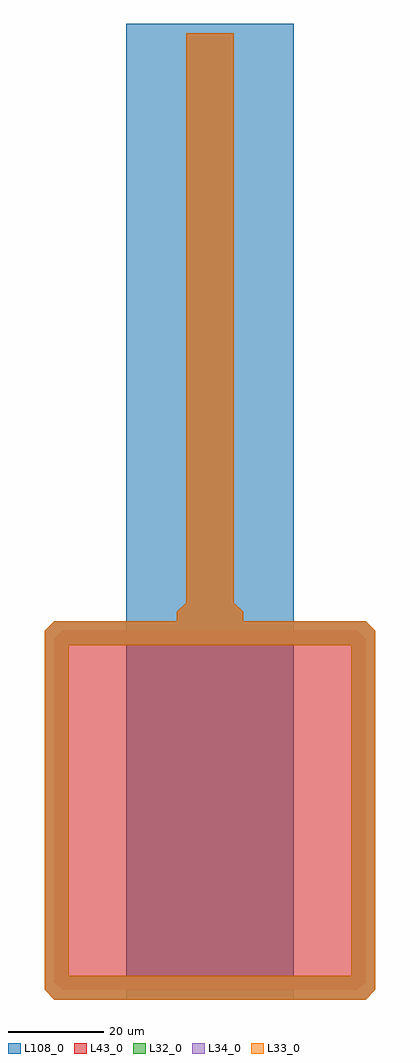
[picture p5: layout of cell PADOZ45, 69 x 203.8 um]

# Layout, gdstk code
import gdstk
lib = gdstk.Library(unit=1e-6, precision=1e-09)
def R(c, l, rs):  # rectangles x0, y0, x1, y1
    for r in rs: c.add(gdstk.rectangle(r[:2], r[2:], *l))
def P(c, l, *ps):  # polygons
    for p in ps: c.add(gdstk.Polygon(p, *l))
L32_0 = (32, 0)
L33_0 = (33, 0)
L34_0 = (34, 0)
L43_0 = (43, 0)
L108_0 = (108, 0)

padoz45 = lib.new_cell('PADOZ45')
P(padoz45, L32_0, [(69,77),(67,79),(2,79),(0,77),(0,74),(69,74)],
  [(69,77),(64,77),(64,0),(67,0),(69,2)],
  [(5,77),(0,77),(0,2),(2,0),(5,0)],
  [(66.93,5),(0,5),(0,2),(2,0),(66.93,0)],
  [(41.4,80.98),(39.5,82.88),(39.5,201.8),(29.5,201.8),(29.5,82.88),(27.6,80.98),(27.6,78.5),(41.4,78.5)])
P(padoz45, L33_0, [(69,77),(67,79),(2,79),(0,77),(0,74),(69,74)],
  [(69,77),(64,77),(64,0),(67,0),(69,2)],
  [(5,77),(0,77),(0,2),(2,0),(5,0)],
  [(41.4,78.5),(27.6,78.5),(27.6,80.98),(29.5,82.88),(29.5,201.8),(39.5,201.8),(39.5,82.88),(41.4,80.98)])
P(padoz45, L34_0, [(69,77),(67,79),(2,79),(0,77),(0,74),(69,74)],
  [(69,77),(64,77),(64,0),(67,0),(69,2)],
  [(5,77),(0,77),(0,2),(2,0),(5,0)],
  [(66.93,5),(0,5),(0,2),(2,0),(66.93,0)],
  [(41.4,78.5),(27.6,78.5),(27.6,80.98),(29.5,82.88),(29.5,201.8),(39.5,201.8),(39.5,82.88),(41.4,80.98)])
P(padoz45, L43_0, [(67,75.25),(65.25,77),(3.75,77),(2,75.25),(2,3.75),(3.75,2),(65.25,2),(67,3.75)])
R(padoz45, L108_0, [(17,0,52,203.8)])
padoz45.add(gdstk.FlexPath([(2.5,2.5),(66.93,2.5)], 5, ends="flush", simple_path=True, layer=33, datatype=0))  # L33_0

lib.write_gds('PADOZ45.gds')
